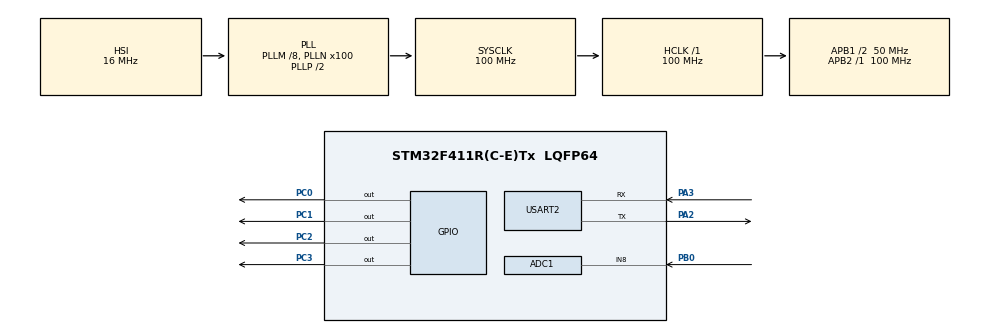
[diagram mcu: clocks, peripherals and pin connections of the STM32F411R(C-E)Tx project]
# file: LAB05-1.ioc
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ADC1.Channel-0\#ChannelRegularConversion=ADC_CHANNEL_8
ADC1.ContinuousConvMode=ENABLE
ADC1.DataAlign=ADC_DATAALIGN_RIGHT
ADC1.NbrOfConversionFlag=1
ADC1.Rank-0\#ChannelRegularConversion=1
ADC1.SamplingTime-0\#ChannelRegularConversion=ADC_SAMPLETIME_3CYCLES
ADC1.master=1
Mcu.Family=STM32F4
Mcu.Name=STM32F411R(C-E)Tx
Mcu.Package=LQFP64
NVIC.PriorityGroup=NVIC_PRIORITYGROUP_4
PA2.GPIO_Speed=GPIO_SPEED_FREQ_VERY_HIGH
PA2.Mode=Asynchronous
PA2.Signal=USART2_TX
PA3.Mode=Asynchronous
PA3.Signal=USART2_RX
PB0.Signal=ADCx_IN8
PC0.GPIO_Speed=GPIO_SPEED_FREQ_HIGH
PC0.Signal=GPIO_Output
PC1.GPIO_Speed=GPIO_SPEED_FREQ_HIGH
PC1.Signal=GPIO_Output
PC2.GPIO_Speed=GPIO_SPEED_FREQ_HIGH
PC2.Signal=GPIO_Output
PC3.GPIO_Speed=GPIO_SPEED_FREQ_HIGH
PC3.Signal=GPIO_Output
ProjectManager.HeapSize=0x200
ProjectManager.StackSize=0x400
ProjectManager.TargetToolchain=MDK-ARM V5
RCC.48MHZClocksFreq_Value=50000000
RCC.AHBFreq_Value=100000000
RCC.APB1CLKDivider=RCC_HCLK_DIV2
RCC.APB1Freq_Value=50000000
RCC.APB1TimFreq_Value=100000000
RCC.APB2Freq_Value=100000000
RCC.APB2TimFreq_Value=100000000
RCC.CortexFreq_Value=100000000
RCC.HCLKFreq_Value=100000000
RCC.HSE_VALUE=25000000
RCC.HSI_VALUE=16000000
RCC.LSE_VALUE=32768
RCC.PLLM=8
RCC.PLLN=100
RCC.SYSCLKFreq_VALUE=100000000
RCC.SYSCLKSource=RCC_SYSCLKSOURCE_PLLCLK
RCC.VCOOutputFreq_Value=200000000
SH.ADCx_IN8.0=ADC1_IN8,IN8
USART2.VirtualMode=VM_ASYNC
board=LAB05-1

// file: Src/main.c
/**
  ******************************************************************************
  * @file           : main.c
  * @brief          : Main program body
  ******************************************************************************
  ** This notice applies to any and all portions of this file
  * that are not between comment pairs USER CODE BEGIN and
  * USER CODE END. Other portions of this file, whether
  * inserted by the user or by software development tools
  * are owned by their respective copyright owners.
  *
  * COPYRIGHT(c) 2018 STMicroelectronics
  *
  * Redistribution and use in source and binary forms, with or without modification,
  * are permitted provided that the following conditions are met:
  *   1. Redistributions of source code must retain the above copyright notice,
  *      this list of conditions and the following disclaimer.
  *   2. Redistributions in binary form must reproduce the above copyright notice,
  *      this list of conditions and the following disclaimer in the documentation
  *      and/or other materials provided with the distribution.
  *   3. Neither the name of STMicroelectronics nor the names of its contributors
  *      may be used to endorse or promote products derived from this software
  *      without specific prior written permission.
  *
  * THIS SOFTWARE IS PROVIDED BY THE COPYRIGHT HOLDERS AND CONTRIBUTORS "AS IS"
  * AND ANY EXPRESS OR IMPLIED WARRANTIES, INCLUDING, BUT NOT LIMITED TO, THE
  * IMPLIED WARRANTIES OF MERCHANTABILITY AND FITNESS FOR A PARTICULAR PURPOSE ARE
  * DISCLAIMED. IN NO EVENT SHALL THE COPYRIGHT HOLDER OR CONTRIBUTORS BE LIABLE
  * FOR ANY DIRECT, INDIRECT, INCIDENTAL, SPECIAL, EXEMPLARY, OR CONSEQUENTIAL
  * DAMAGES (INCLUDING, BUT NOT LIMITED TO, PROCUREMENT OF SUBSTITUTE GOODS OR
  * SERVICES; LOSS OF USE, DATA, OR PROFITS; OR BUSINESS INTERRUPTION) HOWEVER
  * CAUSED AND ON ANY THEORY OF LIABILITY, WHETHER IN CONTRACT, STRICT LIABILITY,
  * OR TORT (INCLUDING NEGLIGENCE OR OTHERWISE) ARISING IN ANY WAY OUT OF THE USE
  * OF THIS SOFTWARE, EVEN IF ADVISED OF THE POSSIBILITY OF SUCH DAMAGE.
  *
  ******************************************************************************
  */
#include "main.h"
#include "stm32f4xx_hal.h"

ADC_HandleTypeDef hadc1;

UART_HandleTypeDef huart2;

/* USER CODE BEGIN PV */
/* Private variables ---------------------------------------------------------*/

/* USER CODE END PV */

void SystemClock_Config(void);
static void MX_GPIO_Init(void);
static void MX_ADC1_Init(void);
static void MX_USART2_UART_Init(void);

/* USER CODE BEGIN PFP */
/* Private function prototypes -----------------------------------------------*/
void displayHEX(uint32_t);

#ifdef __GNUC__
	#define PUTCHAR_PROTOTYPE int __io_putchar(int ch)
#else
	#define PUTCHAR_PROTOTYPE int fputc(int ch, FILE *f)
#endif
/* USER CODE END PFP */

/* USER CODE BEGIN 0 */
PUTCHAR_PROTOTYPE {
	HAL_UART_Transmit(&huart2, (uint8_t *)&ch, 1, 0xFFFF);
	return ch;
}

/* USER CODE END 0 */

int main(void)
{

  /* MCU Configuration----------------------------------------------------------*/

  /* Reset of all peripherals, Initializes the Flash interface and the Systick. */
  HAL_Init();

  /* Configure the system clock */
  SystemClock_Config();

  /* Initialize all configured peripherals */
  MX_GPIO_Init();
  MX_ADC1_Init();
  MX_USART2_UART_Init();
  /* USER CODE BEGIN 2 */
	volatile uint32_t adc_val = 0;
	HAL_ADC_Start(&hadc1);
  /* USER CODE END 2 */

  /* Infinite loop */
  while (1)
  {

  /* USER CODE BEGIN 3 */
		HAL_ADC_Start(&hadc1);
		while(HAL_ADC_PollForConversion(&hadc1, 100) != HAL_OK) {}
		adc_val = (uint32_t)HAL_ADC_GetValue(&hadc1);
		printf("value : %d\n\r", adc_val);
		HAL_Delay(300);

		if (adc_val <= 800){
				HAL_GPIO_WritePin(GPIOC, GPIO_PIN_All, GPIO_PIN_RESET);
//			HAL_GPIO_TogglePin(GPIOC, GPIO_PIN_0);
			printf("OFF ALL\n\r");
		}
		else if (adc_val > 800 && adc_val <= 1600) {
			HAL_GPIO_WritePin(GPIOC, GPIO_PIN_0, GPIO_PIN_SET);
			HAL_GPIO_WritePin(GPIOC, GPIO_PIN_1, GPIO_PIN_RESET);
			HAL_GPIO_WritePin(GPIOC, GPIO_PIN_2, GPIO_PIN_RESET);
			HAL_GPIO_WritePin(GPIOC, GPIO_PIN_3, GPIO_PIN_RESET);
			printf("LED0 ON\n\r");
		}
		else if (adc_val > 1600 && adc_val <= 2400) {
			HAL_GPIO_WritePin(GPIOC, GPIO_PIN_0, GPIO_PIN_SET);
			HAL_GPIO_WritePin(GPIOC, GPIO_PIN_1, GPIO_PIN_SET);
			HAL_GPIO_WritePin(GPIOC, GPIO_PIN_2, GPIO_PIN_RESET);
			HAL_GPIO_WritePin(GPIOC, GPIO_PIN_3, GPIO_PIN_RESET);
			printf("LED0, LED1 ON\n\r");
		}
		else if (adc_val > 2400 && adc_val <= 3200) {
			HAL_GPIO_WritePin(GPIOC, GPIO_PIN_0, GPIO_PIN_SET);
			HAL_GPIO_WritePin(GPIOC, GPIO_PIN_1, GPIO_PIN_SET);
			HAL_GPIO_WritePin(GPIOC, GPIO_PIN_2, GPIO_PIN_SET);
			HAL_GPIO_WritePin(GPIOC, GPIO_PIN_3, GPIO_PIN_RESET);
			printf("LED0, LED1, LED2 ON\n\r");
		}
		else {
			HAL_GPIO_WritePin(GPIOC, GPIO_PIN_0, GPIO_PIN_SET);
			HAL_GPIO_WritePin(GPIOC, GPIO_PIN_1, GPIO_PIN_SET);
			HAL_GPIO_WritePin(GPIOC, GPIO_PIN_2, GPIO_PIN_SET);
			HAL_GPIO_WritePin(GPIOC, GPIO_PIN_3, GPIO_PIN_SET);
			printf("LED0, LED1, LED2 and LED3 ON\n\r");
		}
  }

  /* USER CODE END 3 */

}

void SystemClock_Config(void)
{

  RCC_OscInitTypeDef RCC_OscInitStruct;
  RCC_ClkInitTypeDef RCC_ClkInitStruct;

    /**Configure the main internal regulator output voltage
    */
  __HAL_RCC_PWR_CLK_ENABLE();

  __HAL_PWR_VOLTAGESCALING_CONFIG(PWR_REGULATOR_VOLTAGE_SCALE1);

    /**Initializes the CPU, AHB and APB busses clocks
    */
  RCC_OscInitStruct.OscillatorType = RCC_OSCILLATORTYPE_HSI;
  RCC_OscInitStruct.HSIState = RCC_HSI_ON;
  RCC_OscInitStruct.HSICalibrationValue = 16;
  RCC_OscInitStruct.PLL.PLLState = RCC_PLL_ON;
  RCC_OscInitStruct.PLL.PLLSource = RCC_PLLSOURCE_HSI;
  RCC_OscInitStruct.PLL.PLLM = 8;
  RCC_OscInitStruct.PLL.PLLN = 100;
  RCC_OscInitStruct.PLL.PLLP = RCC_PLLP_DIV2;
  RCC_OscInitStruct.PLL.PLLQ = 4;
  if (HAL_RCC_OscConfig(&RCC_OscInitStruct) != HAL_OK)
  {
    _Error_Handler(__FILE__, __LINE__);
  }

    /**Initializes the CPU, AHB and APB busses clocks
    */
  RCC_ClkInitStruct.ClockType = RCC_CLOCKTYPE_HCLK|RCC_CLOCKTYPE_SYSCLK
                              |RCC_CLOCKTYPE_PCLK1|RCC_CLOCKTYPE_PCLK2;
  RCC_ClkInitStruct.SYSCLKSource = RCC_SYSCLKSOURCE_PLLCLK;
  RCC_ClkInitStruct.AHBCLKDivider = RCC_SYSCLK_DIV1;
  RCC_ClkInitStruct.APB1CLKDivider = RCC_HCLK_DIV2;
  RCC_ClkInitStruct.APB2CLKDivider = RCC_HCLK_DIV1;

  if (HAL_RCC_ClockConfig(&RCC_ClkInitStruct, FLASH_LATENCY_3) != HAL_OK)
  {
    _Error_Handler(__FILE__, __LINE__);
  }

    /**Configure the Systick interrupt time
    */
  HAL_SYSTICK_Config(HAL_RCC_GetHCLKFreq()/1000);

    /**Configure the Systick
    */
  HAL_SYSTICK_CLKSourceConfig(SYSTICK_CLKSOURCE_HCLK);

  /* SysTick_IRQn interrupt configuration */
  HAL_NVIC_SetPriority(SysTick_IRQn, 0, 0);
}

/* ADC1 init function */
static void MX_ADC1_Init(void)
{

  ADC_ChannelConfTypeDef sConfig;

    /**Configure the global features of the ADC (Clock, Resolution, Data Alignment and number of conversion)
    */
  hadc1.Instance = ADC1;
  hadc1.Init.ClockPrescaler = ADC_CLOCK_SYNC_PCLK_DIV4;
  hadc1.Init.Resolution = ADC_RESOLUTION_12B;
  hadc1.Init.ScanConvMode = DISABLE;
  hadc1.Init.ContinuousConvMode = ENABLE;
  hadc1.Init.DiscontinuousConvMode = DISABLE;
  hadc1.Init.ExternalTrigConvEdge = ADC_EXTERNALTRIGCONVEDGE_NONE;
  hadc1.Init.ExternalTrigConv = ADC_SOFTWARE_START;
  hadc1.Init.DataAlign = ADC_DATAALIGN_RIGHT;
  hadc1.Init.NbrOfConversion = 1;
  hadc1.Init.DMAContinuousRequests = DISABLE;
  hadc1.Init.EOCSelection = ADC_EOC_SINGLE_CONV;
  if (HAL_ADC_Init(&hadc1) != HAL_OK)
  {
    _Error_Handler(__FILE__, __LINE__);
  }

    /**Configure for the selected ADC regular channel its corresponding rank in the sequencer and its sample time.
    */
  sConfig.Channel = ADC_CHANNEL_8;
  sConfig.Rank = 1;
  sConfig.SamplingTime = ADC_SAMPLETIME_3CYCLES;
  if (HAL_ADC_ConfigChannel(&hadc1, &sConfig) != HAL_OK)
  {
    _Error_Handler(__FILE__, __LINE__);
  }

}

/* USART2 init function */
static void MX_USART2_UART_Init(void)
{

  huart2.Instance = USART2;
  huart2.Init.BaudRate = 115200;
  huart2.Init.WordLength = UART_WORDLENGTH_8B;
  huart2.Init.StopBits = UART_STOPBITS_1;
  huart2.Init.Parity = UART_PARITY_NONE;
  huart2.Init.Mode = UART_MODE_TX_RX;
  huart2.Init.HwFlowCtl = UART_HWCONTROL_NONE;
  huart2.Init.OverSampling = UART_OVERSAMPLING_16;
  if (HAL_UART_Init(&huart2) != HAL_OK)
  {
    _Error_Handler(__FILE__, __LINE__);
  }

}

/** Configure pins as
        * Analog
        * Input
        * Output
        * EVENT_OUT
        * EXTI
*/
static void MX_GPIO_Init(void)
{

  GPIO_InitTypeDef GPIO_InitStruct;

  /* GPIO Ports Clock Enable */
  __HAL_RCC_GPIOC_CLK_ENABLE();
  __HAL_RCC_GPIOA_CLK_ENABLE();
  __HAL_RCC_GPIOB_CLK_ENABLE();

  /*Configure GPIO pin Output Level */
  HAL_GPIO_WritePin(GPIOC, GPIO_PIN_0|GPIO_PIN_1|GPIO_PIN_2|GPIO_PIN_3, GPIO_PIN_RESET);

  /*Configure GPIO pins : PC0 PC1 PC2 PC3 */
  GPIO_InitStruct.Pin = GPIO_PIN_0|GPIO_PIN_1|GPIO_PIN_2|GPIO_PIN_3;
  GPIO_InitStruct.Mode = GPIO_MODE_OUTPUT_PP;
  GPIO_InitStruct.Pull = GPIO_NOPULL;
  GPIO_InitStruct.Speed = GPIO_SPEED_FREQ_HIGH;
  HAL_GPIO_Init(GPIOC, &GPIO_InitStruct);

}

/* USER CODE BEGIN 4 */
void displayHEX(uint32_t num)
{
	char str[13];
	sprintf(str, "0x%08x\n\r", num);
	HAL_UART_Transmit(&huart2, (uint8_t *) str, 13, 1000);
}
/* USER CODE END 4 */

void _Error_Handler(char *file, int line)
{
  while(1)
  {
  }
}

/************************ (C) COPYRIGHT STMicroelectronics *****END OF FILE****/
